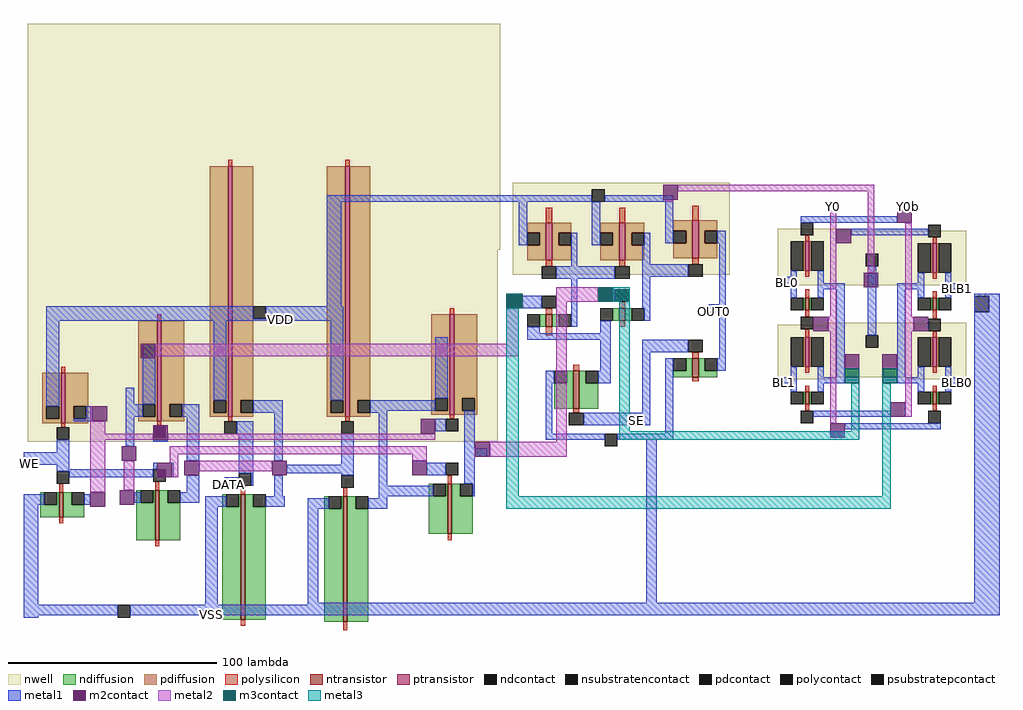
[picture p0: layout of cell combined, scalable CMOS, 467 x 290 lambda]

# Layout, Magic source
magic
tech scmos
<< metal1 >>
rect -89 119 4 120
rect -89 117 7 119
rect -89 62 -82 117
rect 130 78 133 79
rect 4 66 14 72
rect 210 75 216 76
rect 94 64 99 65
rect -114 60 -108 61
rect 127 30 133 31
rect 210 30 216 31
rect 57 12 62 13
rect 64 3 74 6
rect -234 -9 -228 -8
rect -138 -19 -134 -18
rect 64 -75 69 3
rect 221 -75 233 73
rect -147 -81 -141 -80
rect -94 -81 233 -75
<< m2contact >>
rect 72 118 79 125
rect 168 76 175 83
rect -3 66 4 73
rect 41 69 48 76
rect -178 42 -171 49
rect -18 -5 -11 2
<< metal2 >>
rect 79 122 173 125
rect 73 117 77 118
rect 152 114 155 115
rect 170 83 173 122
rect 188 114 191 115
rect 21 69 41 76
rect -3 49 3 66
rect -171 43 3 49
rect 21 2 26 69
rect -11 -5 26 2
<< m3contact >>
rect -3 66 4 73
rect 4 66 5 73
rect 41 69 48 76
<< metal3 >>
rect 48 69 56 76
rect -3 -24 3 66
rect 51 7 56 69
rect 51 3 166 7
rect 177 -24 181 3
rect -3 -30 181 -24
use MUX1  MUX1_0
transform 1 0 126 0 1 53
box 1 -50 103 64
use Senseamp  Senseamp_0
transform 1 0 21 0 1 54
box -21 -54 83 72
use WR_Drive  WR_Drive_0
transform 1 0 -182 0 1 -97
box -52 9 176 299
<< labels >>
rlabel metal1 -234 -9 -228 -8 0 WE
port 3 nsew
rlabel metal1 -114 60 -108 61 0 VDD
port 4 nsew
rlabel metal1 -138 -19 -134 -18 0 DATA
port 5 nsew
rlabel metal1 -147 -81 -141 -80 0 VSS
port 6 nsew
rlabel metal1 57 12 62 13 0 SE
port 9 nsew
rlabel metal1 94 64 99 65 0 OUT0
port 10 nsew
rlabel metal2 152 114 155 115 0 Y0
port 11 nsew
rlabel metal2 188 114 191 115 0 Y0b
port 12 nsew
rlabel metal1 130 78 133 79 0 BL0
port 13 nsew
rlabel metal1 127 30 133 31 0 BL1
port 14 nsew
rlabel metal1 210 30 216 31 0 BLB0
port 15 nsew
rlabel metal1 210 75 216 76 0 BLB1
port 16 nsew
<< end >>

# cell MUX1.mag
magic
tech scmos
<< nwell >>
rect 1 50 30 51
rect 1 24 91 50
rect 23 5 91 6
rect 1 -20 91 5
rect 1 -21 29 -20
rect 62 -21 91 -20
<< ntransistor >>
rect 14 12 16 18
rect 75 12 77 18
rect 14 -33 16 -27
rect 75 -33 77 -27
<< ptransistor >>
rect 14 31 16 45
rect 75 30 77 44
rect 14 -15 16 -1
rect 75 -15 77 -1
<< ndiffusion >>
rect 13 12 14 18
rect 16 12 17 18
rect 74 12 75 18
rect 77 12 78 18
rect 13 -33 14 -27
rect 16 -33 17 -27
rect 74 -33 75 -27
rect 77 -33 78 -27
<< pdiffusion >>
rect 13 31 14 45
rect 16 31 17 45
rect 74 30 75 44
rect 77 30 78 44
rect 13 -15 14 -1
rect 16 -15 17 -1
rect 74 -15 75 -1
rect 77 -15 78 -1
<< ndcontact >>
rect 7 12 13 18
rect 17 12 23 18
rect 68 12 74 18
rect 78 12 84 18
rect 7 -33 13 -27
rect 17 -33 23 -27
rect 68 -33 74 -27
rect 78 -33 84 -27
<< pdcontact >>
rect 7 31 13 45
rect 17 31 23 45
rect 68 30 74 44
rect 78 30 84 44
rect 7 -15 13 -1
rect 17 -15 23 -1
rect 68 -15 74 -1
rect 78 -15 84 -1
<< psubstratepcontact >>
rect 95 11 102 19
<< nsubstratencontact >>
rect 43 33 49 39
rect 43 -6 49 0
<< polysilicon >>
rect 14 45 16 48
rect 75 44 77 47
rect 14 28 16 31
rect 75 27 77 30
rect 14 18 16 22
rect 75 18 77 21
rect 14 9 16 12
rect 75 8 77 12
rect 14 -1 16 3
rect 75 -1 77 2
rect 14 -18 16 -15
rect 75 -18 77 -15
rect 14 -27 16 -24
rect 75 -27 77 -24
rect 14 -36 16 -33
rect 75 -36 77 -33
<< polycontact >>
rect 12 48 18 54
rect 73 47 79 53
rect 12 3 18 9
rect 73 2 79 8
rect 12 -42 18 -36
rect 73 -42 79 -36
<< metal1 >>
rect 12 54 58 57
rect 36 48 73 51
rect 7 28 10 31
rect 4 25 10 28
rect 7 18 10 25
rect 20 25 23 31
rect 20 22 33 25
rect 20 18 23 22
rect 7 -20 10 -15
rect 1 -23 10 -20
rect 7 -27 10 -23
rect 20 -20 23 -15
rect 29 -20 33 22
rect 44 0 48 33
rect 68 25 71 30
rect 58 22 71 25
rect 20 -23 33 -20
rect 58 -20 62 22
rect 68 18 71 22
rect 81 25 84 30
rect 81 22 90 25
rect 81 18 84 22
rect 102 12 103 17
rect 68 -20 71 -15
rect 58 -23 71 -20
rect 20 -27 23 -23
rect 68 -27 71 -23
rect 81 -20 84 -15
rect 81 -23 90 -20
rect 81 -27 84 -23
rect 18 -39 55 -36
rect 33 -45 79 -42
<< m2contact >>
rect 58 54 65 61
rect 29 44 36 51
rect 18 2 25 9
rect 33 -16 40 -9
rect 51 -16 58 -9
rect 66 2 73 9
rect 55 -39 62 -32
rect 26 -49 33 -42
<< metal2 >>
rect 26 9 29 64
rect 62 61 65 64
rect 25 2 29 9
rect 26 -42 29 2
rect 62 9 65 54
rect 62 2 66 9
rect 62 -39 65 2
<< m3contact >>
rect 33 -23 40 -16
rect 51 -23 58 -16
<< metal3 >>
rect 36 -50 40 -23
rect 51 -50 55 -23
<< labels >>
rlabel metal1 1 -23 7 -20 0 BL1
port 2 nsew
rlabel metal2 62 62 65 64 0 Y0B
port 4 nsew
rlabel metal3 36 -50 40 -45 0 MUX_OUT
port 7 nsew
rlabel metal3 51 -50 55 -45 0 MUX_OUTB
port 8 nsew
rlabel metal1 44 0 48 33 0 VDD
port 9 nsew
rlabel metal1 102 12 103 17 0 VSS
port 10 nsew
rlabel metal2 26 62 29 64 0 Y0
port 3 nsew
rlabel metal1 4 25 7 28 0 BL0
port 11 nsew
rlabel metal1 84 22 90 25 0 BLB1
port 12 nsew
rlabel metal1 84 -23 90 -20 0 BLB0
port 13 nsew
<< end >>

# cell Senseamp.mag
magic
tech scmos
<< nwell >>
rect -21 28 83 72
<< ntransistor >>
rect -5 3 -2 9
rect 30 6 33 12
rect 8 -36 11 -18
rect 65 -21 68 -12
<< ptransistor >>
rect -5 35 -2 53
rect 30 35 33 53
rect 65 36 68 54
<< ndiffusion >>
rect -8 3 -5 9
rect -2 3 1 9
rect 27 6 30 12
rect 33 6 36 12
rect 62 -18 65 -12
rect 5 -24 8 -18
rect -1 -36 8 -24
rect 11 -24 14 -18
rect 56 -21 65 -18
rect 68 -18 71 -12
rect 68 -21 77 -18
rect 11 -36 20 -24
<< pdiffusion >>
rect -14 48 -5 53
rect -8 42 -5 48
rect -14 35 -5 42
rect -2 48 7 53
rect -2 42 1 48
rect -2 35 7 42
rect 21 48 30 53
rect 27 42 30 48
rect 21 35 30 42
rect 33 48 42 53
rect 33 42 36 48
rect 33 35 42 42
rect 56 49 65 54
rect 62 43 65 49
rect 56 36 65 43
rect 68 49 77 54
rect 68 43 71 49
rect 68 36 77 43
<< ndcontact >>
rect -14 3 -8 9
rect 1 3 7 9
rect 21 6 27 12
rect 36 6 42 12
rect 56 -18 62 -12
rect -1 -24 5 -18
rect 14 -24 20 -18
rect 71 -18 77 -12
<< pdcontact >>
rect -14 42 -8 48
rect 1 42 7 48
rect 21 42 27 48
rect 36 42 42 48
rect 56 43 62 49
rect 71 43 77 49
<< psubstratepcontact >>
rect 23 -54 29 -48
<< nsubstratencontact >>
rect 17 63 23 69
<< polysilicon >>
rect -5 53 -2 60
rect 30 53 33 60
rect 65 54 68 61
rect -5 32 -2 35
rect 30 32 33 35
rect 65 33 68 36
rect 30 12 33 15
rect -5 9 -2 12
rect 30 3 33 6
rect -5 -1 -2 3
rect 65 -12 68 -9
rect 8 -18 11 -15
rect 65 -23 68 -21
rect 8 -38 11 -36
<< polycontact >>
rect -7 26 0 32
rect 28 26 35 32
rect 63 27 70 33
rect -7 12 0 18
rect 28 15 35 21
rect 63 -9 70 -3
rect 6 -44 13 -38
<< metal1 >>
rect -18 63 17 66
rect 23 63 56 66
rect -18 42 -14 63
rect 7 32 10 48
rect 17 42 21 63
rect 42 42 45 48
rect 52 43 56 63
rect 77 43 81 49
rect 41 33 45 42
rect 0 26 28 32
rect 41 27 63 33
rect -13 12 -7 18
rect 7 3 10 26
rect 22 15 28 21
rect 41 12 45 27
rect 78 14 81 43
rect 42 6 45 12
rect 73 10 81 14
rect -14 0 -8 3
rect 21 0 26 6
rect -14 -3 26 0
rect 21 -18 26 -3
rect -5 -24 -1 -18
rect 20 -24 26 -18
rect 41 -9 63 -3
rect -5 -48 -2 -24
rect 41 -38 45 -9
rect 78 -12 81 10
rect 13 -44 45 -38
rect 52 -48 56 -12
rect 77 -18 81 -12
rect -5 -51 23 -48
rect 29 -51 56 -48
<< labels >>
rlabel metal1 23 64 56 66 0 VDD
port 1 nsew
rlabel metal1 73 10 78 14 0 OUT0
port 2 nsew
rlabel metal1 -12 13 -7 17 0 BLB
port 3 nsew
rlabel metal1 23 16 28 20 0 BL
port 4 nsew
rlabel metal1 36 -42 41 -38 0 SE
port 5 nsew
rlabel metal1 32 -51 37 -48 0 VSS
port 6 nsew
<< end >>

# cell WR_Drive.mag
magic
tech scmos
<< nwell >>
rect -50 191 176 299
rect -50 99 175 191
<< ntransistor >>
rect -35 63 -33 75
rect 11 52 13 76
rect 52 14 54 74
rect 101 13 103 73
rect 151 55 153 79
<< ptransistor >>
rect -34 108 -32 132
rect 12 109 14 157
rect 46 111 48 231
rect 102 111 104 231
rect 152 112 154 160
<< ndiffusion >>
rect -44 69 -42 75
rect -36 69 -35 75
rect -44 63 -35 69
rect -33 69 -29 75
rect -33 63 -23 69
rect 2 70 4 76
rect 10 70 11 76
rect 2 52 11 70
rect 13 70 17 76
rect 13 52 23 70
rect 43 68 45 74
rect 51 68 52 74
rect 43 14 52 68
rect 54 68 58 74
rect 142 73 144 79
rect 150 73 151 79
rect 54 14 64 68
rect 92 67 94 73
rect 100 67 101 73
rect 92 13 101 67
rect 103 67 107 73
rect 103 13 113 67
rect 142 55 151 73
rect 153 73 157 79
rect 153 55 163 73
<< pdiffusion >>
rect -43 116 -34 132
rect -43 110 -41 116
rect -35 110 -34 116
rect -43 108 -34 110
rect -32 116 -21 132
rect -32 110 -28 116
rect -22 110 -21 116
rect -32 108 -21 110
rect 3 117 12 157
rect 3 111 5 117
rect 11 111 12 117
rect 3 109 12 111
rect 14 117 25 157
rect 14 111 18 117
rect 24 111 25 117
rect 37 119 46 231
rect 37 113 39 119
rect 45 113 46 119
rect 37 111 46 113
rect 48 119 58 231
rect 48 113 52 119
rect 48 111 58 113
rect 93 119 102 231
rect 93 113 95 119
rect 101 113 102 119
rect 93 111 102 113
rect 104 119 114 231
rect 104 113 108 119
rect 104 111 114 113
rect 143 120 152 160
rect 143 114 145 120
rect 151 114 152 120
rect 143 112 152 114
rect 154 120 165 160
rect 154 114 158 120
rect 164 114 165 120
rect 154 112 165 114
rect 14 109 25 111
<< ndcontact >>
rect -42 69 -36 75
rect -29 69 -23 75
rect 4 70 10 76
rect 17 70 23 76
rect 45 68 51 74
rect 58 68 64 74
rect 144 73 150 79
rect 94 67 100 73
rect 107 67 113 73
rect 157 73 163 79
<< pdcontact >>
rect -41 110 -35 116
rect -28 110 -22 116
rect 5 111 11 117
rect 18 111 24 117
rect 39 113 45 119
rect 52 113 58 119
rect 95 113 101 119
rect 108 113 114 119
rect 145 114 151 120
rect 158 114 164 120
<< psubstratepcontact >>
rect -7 15 -1 21
<< nsubstratencontact >>
rect 58 158 64 164
<< polysilicon >>
rect 46 231 48 234
rect 102 231 104 234
rect 12 157 14 160
rect -34 132 -32 135
rect 152 160 154 163
rect 46 109 48 111
rect 102 109 104 111
rect 152 110 154 112
rect -34 106 -32 108
rect 12 107 14 109
rect -35 75 -33 79
rect 11 76 13 80
rect -35 60 -33 63
rect 52 74 54 78
rect 151 79 153 83
rect 11 49 13 52
rect 101 73 103 77
rect 52 11 54 14
rect 151 52 153 55
rect 101 9 103 13
<< polycontact >>
rect -36 100 -30 106
rect 10 101 16 107
rect 44 103 50 109
rect 100 103 106 109
rect 150 104 156 110
rect -36 79 -30 85
rect 10 80 16 86
rect 51 78 57 84
rect 150 83 156 89
rect 100 77 106 83
<< metal1 >>
rect -41 158 58 164
rect 64 158 101 164
rect -41 157 101 158
rect -41 116 -35 157
rect -3 117 1 125
rect 5 117 11 146
rect 39 119 45 157
rect 95 119 101 157
rect 145 120 151 149
rect -22 110 -19 116
rect -28 109 -19 110
rect -3 111 5 117
rect 24 111 32 117
rect 58 113 72 119
rect 114 114 145 119
rect 114 113 122 114
rect -36 94 -30 100
rect -3 97 1 111
rect 10 99 17 100
rect -52 88 -30 94
rect 26 90 32 111
rect 50 103 58 109
rect -36 86 -30 88
rect 10 86 12 89
rect -36 85 10 86
rect -30 82 10 85
rect 19 82 20 89
rect -52 69 -42 74
rect -23 69 -20 74
rect -52 21 -45 69
rect 1 70 4 75
rect 26 75 32 83
rect 51 84 58 103
rect 68 90 72 113
rect 44 78 51 82
rect 57 78 58 84
rect 100 88 106 103
rect 74 84 106 88
rect 100 83 106 84
rect 23 70 32 75
rect 35 68 45 73
rect 68 73 72 83
rect 118 78 122 113
rect 145 104 150 110
rect 159 96 164 114
rect 159 92 170 96
rect 141 83 150 89
rect 159 79 164 92
rect 118 73 144 78
rect 163 73 164 79
rect 64 68 73 73
rect 35 21 41 68
rect 84 67 94 72
rect 118 72 122 73
rect 113 67 122 72
rect 84 21 89 67
rect -52 16 -7 21
rect -52 15 -45 16
rect -1 16 89 21
<< m2contact >>
rect -19 109 -12 116
rect 10 101 16 107
rect 16 101 17 107
rect 10 100 17 101
rect -5 90 2 97
rect 12 86 19 89
rect 12 82 16 86
rect 16 82 19 86
rect 25 83 32 90
rect -20 68 -13 75
rect -6 69 1 76
rect 67 83 74 90
rect 138 103 145 110
rect 134 83 141 90
<< metal2 >>
rect -20 109 -19 116
rect -20 103 -13 109
rect -20 100 10 103
rect 17 100 145 103
rect -20 75 -13 100
rect 18 93 141 97
rect -4 76 1 90
rect 18 89 22 93
rect 134 90 141 93
rect 19 82 22 89
rect 32 85 67 90
<< labels >>
rlabel metal1 35 16 41 21 0 VSS
port 1 nsew
rlabel metal1 -52 88 -46 94 0 WE
port 2 nsew
rlabel metal1 44 78 48 82 0 DATA
port 3 nsew
rlabel metal1 -3 111 1 117 0 BLB
port 4 nsew
rlabel metal1 166 92 170 96 0 BL
port 5 nsew
rlabel metal1 62 157 68 164 0 VDD
port 6 nsew
<< end >>
